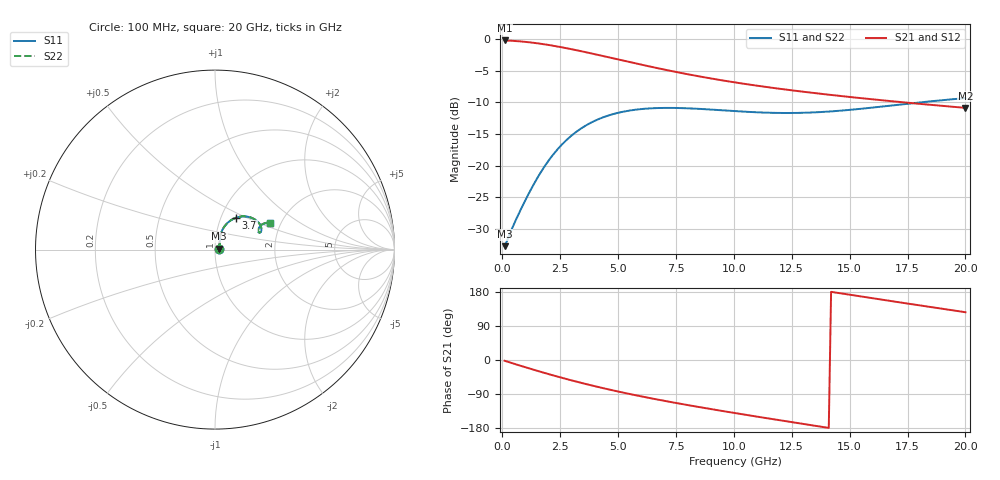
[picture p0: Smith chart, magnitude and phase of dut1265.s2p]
! Touchstone file exported from HFSS 2024.1.0
!  File:  C:/UserFiles/LocalFiles/RDL_TSV_Batchsim/temp_RDL_TSV_1265_1780273495.aedt
!  Generated:  08:43:56 AM Jun  1, 2026
!  Design:  RDL_TSV
!  Project:  temp_RDL_TSV_1265_1780273495
!  Setup:  Setup1
!  Solution:  Sweep
! Variables:
!  dtsv = 5.79um
!  hbump = 3um
!  htsv = 92.15um
!  ldown = 353.78um
!  lrdl = 543.17um
!  p = 40
!  p1 = 59.11um
!  rhole = 10um
!  subl = 3234.02um
!  t = 450um
!  tdown = 2.02um
!  trdl = 2.49um
!  viad = 10um
!  wdown = 18.41um
!  wrdl = 29.4um
!  xbump = 18um
# GHz S MA R 50.000000
! Terminal data exported
! Port[1] = TM1_1_T1
! Port[2] = TM1_4_T1
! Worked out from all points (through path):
!   200 points, 100 MHz to 20 GHz, reference 50 ohm
!   highest |S21| = -0.20 dB at 100 MHz (marker M1); lowest = -10.8 dB at 20 GHz (marker M2)
!   group delay of S21, straight-line fit = 30.7 ps
!   lowest |S11| = -32.7 dB at 100 MHz (marker M3), VSWR 1.05, Z = 52.3 + j0.561 ohm
!   |S11| at or under -10 dB: start of sweep to 18.01 GHz
!   |S22| runs from -32.7 to -9.3 dB; largest |S21 - S12| = 1.7e-14
!   S11 on the Smith chart (normalised r, x): 100 MHz: 1.05, +0.01; 3.7 GHz: 1.18, +0.44; 20 GHz: 1.77, +0.59
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0.1  0.02317 13.4  0.9772 -2.0  0.9772 -2.0  0.02317 13.4
! Gamma 0 0 0 0
! Port Impedance 50 0 50 0
0.5  0.0345 43.7  0.9693 -9.8  0.9693 -9.8  0.0345 43.7
0.9  0.04925 58.5  0.9565 -17.4  0.9565 -17.4  0.04925 58.5
1.4  0.07371 67.6  0.9342 -26.6  0.9342 -26.6  0.07372 67.6
1.8  0.09729 69.8  0.9123 -33.7  0.9123 -33.7  0.0973 69.8
2.2  0.1228 69.1  0.8875 -40.7  0.8875 -40.7  0.1229 69.2
2.6  0.1488 66.8  0.8608 -47.4  0.8608 -47.4  0.1488 66.8
3  0.1738 63.4  0.8329 -53.9  0.8329 -53.9  0.1739 63.5
3.5  0.2024 58.6  0.7971 -61.7  0.7971 -61.7  0.2025 58.6
3.7  0.2127 56.6  0.7827 -64.8  0.7827 -64.8  0.2128 56.6
4.4  0.2432 49.5  0.733 -75.0  0.733 -75.0  0.2433 49.6
5.2  0.267 42.1  0.679 -85.8  0.679 -85.8  0.2671 42.2
6  0.2806 35.7  0.6295 -96.0  0.6295 -96.0  0.2807 35.8
6.8  0.2861 30.5  0.5854 -105.5  0.5854 -105.5  0.2862 30.6
8.3  0.2829 23.8  0.5165 -122.1  0.5165 -122.1  0.2829 23.9
10.1  0.27 20.7  0.4541 -140.5  0.4541 -140.5  0.2699 20.9
11.7  0.2619 21.6  0.4121 -156.3  0.4121 -156.3  0.2618 21.7
13.4  0.2638 24.3  0.3768 -172.6  0.3768 -172.6  0.2638 24.5
15  0.2764 26.8  0.3496 172.3  0.3496 172.3  0.2766 27.1
16.7  0.2978 28.0  0.3252 156.4  0.3252 156.4  0.2981 28.2
18.3  0.3203 27.4  0.3053 141.6  0.3053 141.6  0.3208 27.7
20  0.3421 25.5  0.2869 126.1  0.2869 126.1  0.3428 25.7
